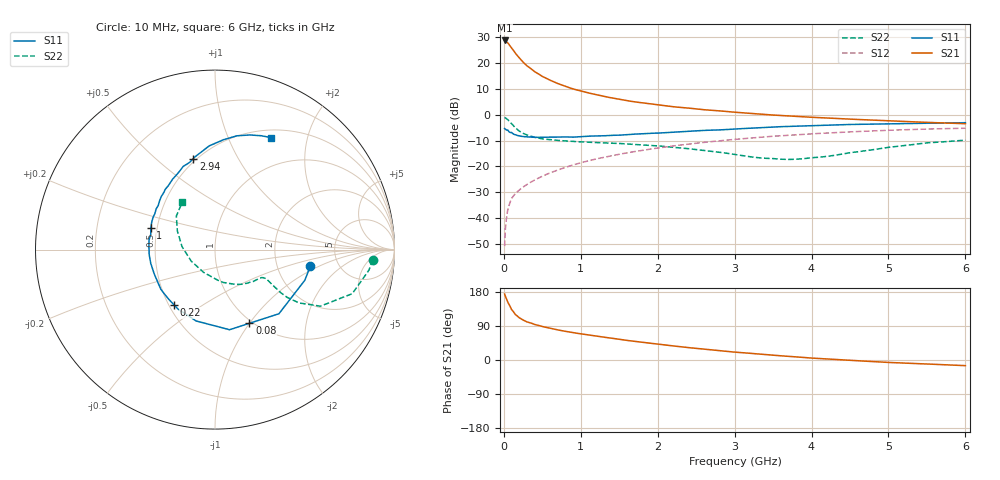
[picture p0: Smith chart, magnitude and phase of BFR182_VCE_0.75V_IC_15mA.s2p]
! Infineon Technologies  Discrete & RF Semiconductors
! BFR182
! VCE = 0.75 V,  IC =  15 mA
! Common Emitter S-Parameters:  Nov 2015
# GHz  S  MA  R  50
!  f  S11  S21  S12  S22
! GHz  MAG  ANG  MAG  ANG  MAG  ANG  MAG  ANG
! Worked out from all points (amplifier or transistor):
!   210 points, 10 MHz to 6 GHz, reference 50 ohm
!   highest |S21| = 28.6 dB at 10 MHz (marker M1)
!   |S21| within 3 dB of that: start of sweep to 104.3 MHz
!   unconditionally stable (mu >= 1): start of sweep to 10.63 MHz; 334.9 MHz to end of sweep
!   at 185 MHz: K = 0.77, MSG = 26.0 dB, |S12| = -29.5 dB
!   at 1.52 GHz: K = 1.20, MAG = 7.8 dB, |S12| = -15.2 dB
!   at 6 GHz: K = 1.03, MAG = -0.2 dB, |S12| = -5.3 dB
!   S11 on the Smith chart (normalised r, x): 10 MHz: 3.10, -0.81; 80 MHz: 0.97, -1.00; 220 MHz: 0.53, -0.38; 1 GHz: 0.46, +0.13; 2.94 GHz: 0.48, +0.67; 6 GHz: 0.59, +1.45
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0.01  0.539 -9.9  26.94 174.1  0.0029 81.8  0.8814 -3.7
0.02  0.5289 -18.8  26.55 168.1  0.0062 83.7  0.8653 -7.6
0.05  0.5046 -45.1  24.45 152.6  0.0143 71.8  0.8034 -17.8
0.08  0.4531 -65.0  21.16 142.0  0.0201 66.4  0.7183 -23.6
0.1  0.4537 -79.7  19.47 133.2  0.0241 64.3  0.6665 -28.2
0.15  0.4113 -104.8  15.24 119.8  0.03 60.4  0.5552 -32.4
0.2  0.3901 -121.9  12.39 111.5  0.035 60.8  0.4818 -33.5
0.22  0.3831 -126.6  11.53 109.3  0.037 60.6  0.4632 -33.4
0.26  0.3761 -136.0  9.975 104.5  0.041 60.8  0.4294 -33.1
0.3  0.374 -143.9  8.758 100.6  0.0448 62.4  0.4054 -32.5
0.4  0.3647 -158.3  6.741 93.8  0.0547 64.2  0.3638 -31.1
0.5  0.3661 -167.9  5.464 88.2  0.0647 65.6  0.34 -30.1
0.7  0.3688 177.5  3.984 79.4  0.0851 67.1  0.3181 -29.9
1  0.3768 161.6  2.854 69.0  0.1177 66.8  0.298 -32.1
1.02  0.378 160.7  2.806 68.4  0.1199 66.7  0.297 -32.4
1.4  0.3985 145.4  2.101 57.5  0.1609 64.3  0.2808 -38.1
2.02  0.4413 126.0  1.534 41.5  0.2286 58.3  0.2481 -51.0
2.94  0.5214 103.4  1.133 22.0  0.3266 47.4  0.1764 -81.7
3.1  0.5372 100.3  1.085 19.3  0.3425 45.2  0.1621 -89.8
4.1  0.6199 84.2  0.874 3.9  0.4338 31.9  0.1508 -161.6
5.1  0.6702 72.1  0.749 -7.2  0.505 18.7  0.2426 150.4
6  0.698 63.4  0.668 -14.9  0.5463 6.7  0.3219 124.5
